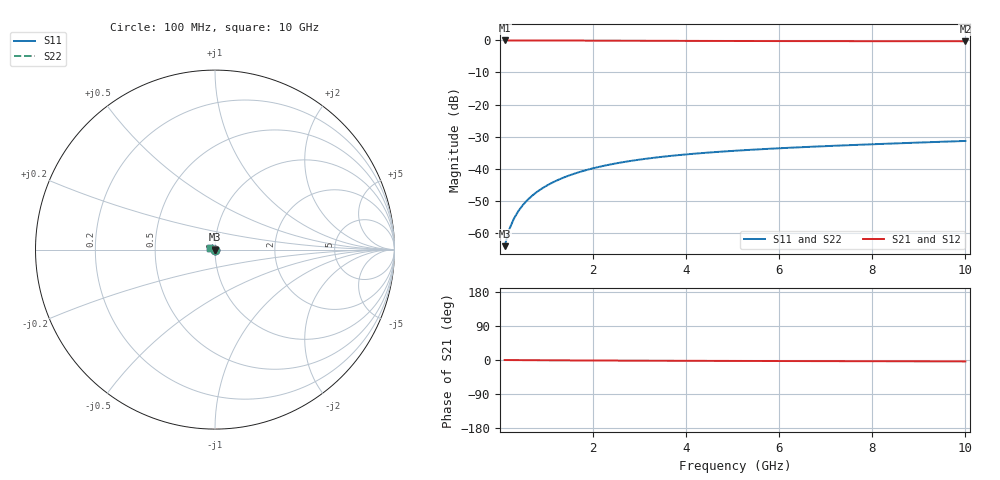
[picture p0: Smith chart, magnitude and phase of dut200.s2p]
! Touchstone file exported from HFSS 2024.1.0
!  File:  C:/UserFiles/LocalFiles/RDL_TSV_Batchsim/temp_TSV1_200_1779385773.aedt
!  Generated:  01:58:51 AM May 22, 2026
!  Design:  TSV1
!  Project:  temp_TSV1_200_1779385773
!  Setup:  Setup1
!  Solution:  Sweep
! Variables:
!  dtsv = 6.28um
!  hbump = 3um
!  htsv = 54.57um
!  lrdl = 252.1521522um
!  p = 40
!  p1 = 42.09um
!  t = 500um
!  trdl = 3um
!  wrdl = 24.89489489um
# GHz S MA R 50.000000
! Terminal data exported
! Port[1] = TSV22_T1
! Port[2] = TSV22_T2
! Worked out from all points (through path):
!   100 points, 100 MHz to 10 GHz, reference 50 ohm
!   highest |S21| = 0.00 dB at 100 MHz (marker M1); lowest = -0.3 dB at 10 GHz (marker M2)
!   lowest |S11| = -64.2 dB at 100 MHz (marker M3), VSWR 1.00, Z = 50 - j0.0554 ohm
!   |S11| at or under -10 dB: start of sweep to end of sweep
!   |S22| runs from -64.2 to -31.4 dB; largest |S21 - S12| = 2.3e-15
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0.1  0.0006166 -64.0  0.9997 -0.1  0.9997 -0.1  0.0006166 -64.0
! Gamma 0 0 0 0
! Port Impedance 50 0 50 0
0.2  0.001127 -79.2  0.9996 -0.2  0.9996 -0.2  0.001127 -79.2
0.3  0.001662 -86.1  0.9995 -0.2  0.9995 -0.2  0.001662 -86.1
0.4  0.002203 -90.5  0.9994 -0.3  0.9994 -0.3  0.002203 -90.5
0.5  0.002746 -93.9  0.9992 -0.4  0.9992 -0.4  0.002746 -93.9
0.6  0.003287 -96.7  0.999 -0.4  0.999 -0.4  0.003287 -96.7
0.7  0.003826 -99.3  0.9987 -0.5  0.9987 -0.5  0.003826 -99.3
0.8  0.004359 -101.6  0.9985 -0.6  0.9985 -0.6  0.004359 -101.6
0.9  0.004886 -103.8  0.9982 -0.7  0.9982 -0.7  0.004886 -103.8
1.1  0.005919 -107.9  0.9975 -0.8  0.9975 -0.8  0.005919 -107.9
1.4  0.007406 -113.6  0.9963 -1.0  0.9963 -1.0  0.007406 -113.6
1.6  0.00835 -117.2  0.9955 -1.1  0.9955 -1.1  0.00835 -117.2
1.8  0.009253 -120.6  0.9945 -1.2  0.9945 -1.2  0.009253 -120.6
2.1  0.01053 -125.6  0.9931 -1.4  0.9931 -1.4  0.01053 -125.6
2.5  0.01209 -131.8  0.9912 -1.6  0.9912 -1.6  0.01209 -131.8
2.9  0.01349 -137.6  0.9892 -1.8  0.9892 -1.8  0.01349 -137.6
3.4  0.01505 -144.2  0.9869 -1.9  0.9869 -1.9  0.01505 -144.2
4.2  0.01715 -153.7  0.9836 -2.2  0.9836 -2.2  0.01715 -153.7
5.1  0.0191 -163.0  0.9805 -2.5  0.9805 -2.5  0.0191 -163.0
6.7  0.02195 -176.6  0.9764 -2.9  0.9764 -2.9  0.02195 -176.6
8.4  0.0246 172.0  0.9735 -3.3  0.9735 -3.3  0.0246 172.0
10  0.02702 163.1  0.9715 -3.7  0.9715 -3.7  0.02702 163.1
